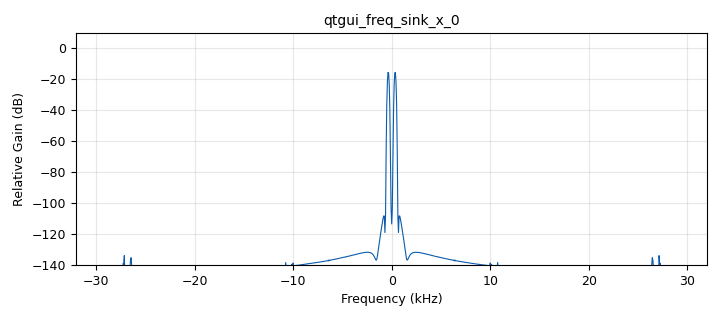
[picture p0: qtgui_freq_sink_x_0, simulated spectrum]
options:
  parameters:
    author: Jatin
    category: Custom
    generate_options: qt_gui
    id: Exp_1
    output_language: python
    title: Exp_1
  states: {}

blocks:
- name: samp_rate
  id: variable
  parameters:
    value: '64000'
  states: {}
- name: audio_sink_0
  id: audio_sink
  parameters:
    samp_rate: samp_rate
  states: {}
- name: blocks_repeat_0
  id: blocks_repeat
  parameters:
    interp: '48000'
    type: float
  states: {}
- name: blocks_vco_f_0
  id: blocks_vco_f
  parameters:
    amplitude: '1'
    samp_rate: samp_rate
    sensitivity: '6.28'
  states: {}
- name: blocks_vector_source_x_0_0
  id: blocks_vector_source_x
  parameters:
    repeat: 'True'
    type: float
    vector: (262,262,293,262,349,329,262,262,293,262,392,349,262,262,277,440,349,329,293,466,466,440,349,392,349)
  states: {}
- name: qtgui_freq_sink_x_0
  id: qtgui_freq_sink_x
  parameters:
    bw: samp_rate
    fc: '0'
    fftsize: '1024'
    type: float
  states: {}

connections:
- [blocks_repeat_0, '0', blocks_vco_f_0, '0']
- [blocks_vco_f_0, '0', audio_sink_0, '0']
- [blocks_vco_f_0, '0', qtgui_freq_sink_x_0, '0']
- [blocks_vector_source_x_0_0, '0', blocks_repeat_0, '0']

metadata:
  file_format: 1
  grc_version: 3.10.9.2
